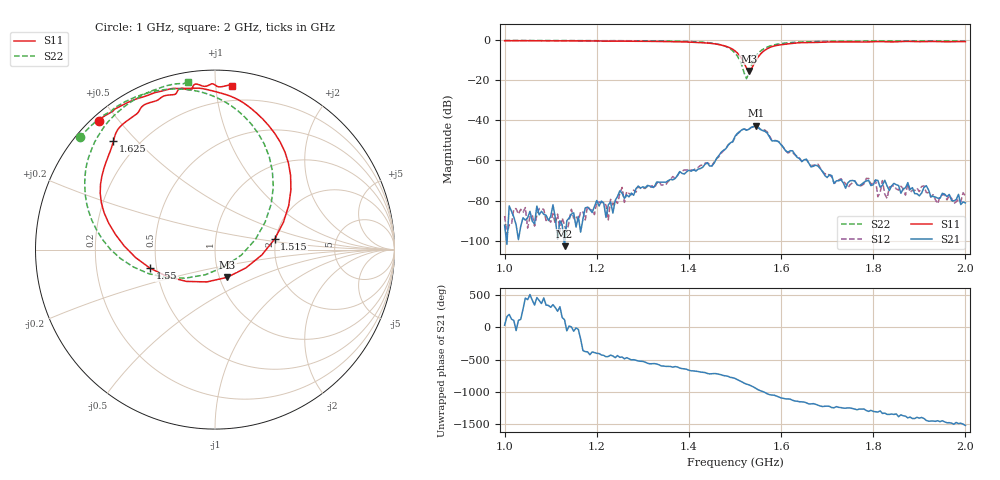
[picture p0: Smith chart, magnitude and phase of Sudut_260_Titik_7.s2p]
# Hz S RI R 50
! CMT, C1220, 16058040, 17.2.0/1
! Date: 14/08/2018 12:15:52
! Data: Format (Calibration Info)
! Freq  S11: Re/Im (F2)  S21: Re/Im (F2)  S12: Re/Im (F2)  S22: Re/Im (F2)
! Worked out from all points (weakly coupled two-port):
!   201 points, 1 GHz to 2 GHz, reference 50 ohm
!   highest |S21| = -42.60 dB at 1.545 GHz (marker M1); lowest = -102.7 dB at 1.13 GHz (marker M2)
!   lowest |S11| = -15.5 dB at 1.53 GHz (marker M3), VSWR 1.41, Z = 54.5 - j17.3 ohm
!   |S11| at or under -10 dB: 1.516 GHz to 1.546 GHz (29.51 MHz wide, 1.93 % of centre)
!   |S22| runs from -19.2 to -0.2 dB; largest |S21 - S12| = 0.00038
!   S11 on the Smith chart (normalised r, x): 1 GHz: 0.02, +0.44; 1.515 GHz: 1.97, +0.26; 1.55 GHz: 0.46, -0.11; 1.625 GHz: 0.11, +0.43; 2 GHz: 0.09, +1.10
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1e9  -0.6483 0.7143  2.01e-05 1.39e-05  3.79e-05 -1.69e-05  -0.7536 0.6247
1.13e9  -0.5168 0.8044  -3.81e-06 6.25e-06  2e-05 -1.54e-05  -0.6554 0.7215
1.17e9  -0.4798 0.8228  3.47e-05 3.6e-07  4.77e-05 -2.16e-05  -0.6168 0.7506
1.245e9  -0.3668 0.8628  2.75e-05 -0.000123  -1.89e-05 -8.32e-05  -0.5429 0.7996
1.255e9  -0.3515 0.8689  -2.58e-05 -0.00015  -8.66e-05 -0.000194  -0.5293 0.808
1.26e9  -0.3465 0.8709  -7.03e-05 -8.91e-05  -4.32e-05 -7.92e-05  -0.5229 0.8121
1.335e9  -0.2221 0.8977  -0.000218 0.000188  -0.000209 0.000224  -0.4006 0.8653
1.45e9  0.1782 0.804  0.000732 -8.92e-06  0.000726 -7e-05  0.0241 0.8397
1.5e9  0.4231 0.3339  0.00118 -0.00379  0.00112 -0.0036  0.325 0.3495
1.515e9  0.3322 0.0584  -0.00346 -0.00468  -0.00334 -0.00478  0.2246 0.0557
1.53e9  0.0684 -0.1543  -0.00595 -0.00077  -0.00595 -0.000768  -0.0545 -0.1404
1.545e9  -0.2663 -0.1502  -0.00499 0.00548  -0.00508 0.00524  -0.3693 -0.1341
1.55e9  -0.3616 -0.1039  -0.00245 0.00625  -0.00268 0.00616  -0.4544 -0.097
1.625e9  -0.5656 0.605  0.00102 -0.0014  0.000969 -0.00126  -0.702 0.52
1.67e9  -0.4464 0.7477  -0.000189 -0.000691  -0.000253 -0.000717  -0.6262 0.6718
1.74e9  -0.31 0.8392  -0.000203 -1.3e-05  -0.000267 7.51e-06  -0.5117 0.7912
1.805e9  -0.203 0.8914  -0.000199 0.000256  -0.000175 0.000276  -0.4173 0.8534
1.81e9  -0.1962 0.8957  -0.000171 0.000268  -0.000109 6.02e-05  -0.4105 0.8573
1.82e9  -0.1775 0.8973  -4.74e-05 0.000237  -0.00014 0.000283  -0.3967 0.8639
1.83e9  -0.1549 0.8926  1.15e-05 0.000232  -2.45e-05 0.000111  -0.3835 0.8705
1.835e9  -0.1447 0.8902  1.11e-05 0.000179  0.000131 0.000172  -0.3767 0.8737
2e9  0.095 0.9139  7.06e-06 -8.74e-05  2.93e-05 -0.000128  -0.1528 0.9328
